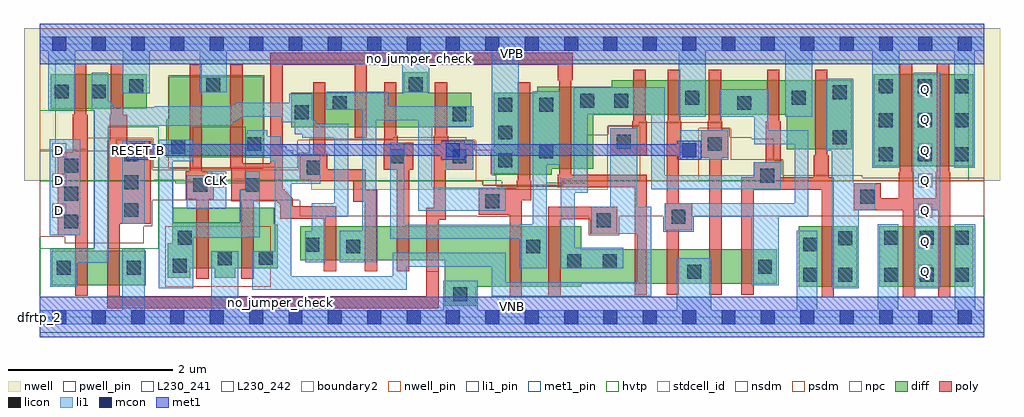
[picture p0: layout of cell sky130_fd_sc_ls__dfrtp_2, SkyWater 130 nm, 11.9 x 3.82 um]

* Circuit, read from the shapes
.subckt sky130_fd_sc_ls__dfrtp_2 CLK D Q RESET_B VGND VNB VPB VPWR
XM1 n1 D n2 VNB sky130_fd_pr__nfet_01v8 w=0.42 l=0.15
XM2 VGND RESET_B n1 VNB sky130_fd_pr__nfet_01v8 w=0.42 l=0.15
XM3 VGND CLK n3 VNB sky130_fd_pr__nfet_01v8 w=0.74 l=0.15
XM4 n4 n3 VGND VNB sky130_fd_pr__nfet_01v8 w=0.74 l=0.15
XM5 n5 n3 n2 VNB sky130_fd_pr__nfet_01v8 w=0.42 l=0.15
XM6 n6 n4 n5 VNB sky130_fd_pr__nfet_01v8 w=0.42 l=0.15
XM7 n7 n8 n6 VNB sky130_fd_pr__nfet_01v8 w=0.42 l=0.15
XM8 VGND RESET_B n7 VNB sky130_fd_pr__nfet_01v8 w=0.42 l=0.15
XM9 n8 n5 VGND VNB sky130_fd_pr__nfet_01v8 w=0.74 l=0.15
XM10 n9 n4 n8 VNB sky130_fd_pr__nfet_01v8 w=0.74 l=0.15
XM11 n10 n3 n9 VNB sky130_fd_pr__nfet_01v8 w=0.42 l=0.15
XM12 VGND n11 n10 VNB sky130_fd_pr__nfet_01v8 w=0.42 l=0.15
XM13 n12 RESET_B VGND VNB sky130_fd_pr__nfet_01v8 w=0.42 l=0.15
XM14 n11 n9 n12 VNB sky130_fd_pr__nfet_01v8 w=0.42 l=0.15
XM15 n13 n9 VGND VNB sky130_fd_pr__nfet_01v8 w=0.74 l=0.15
XM16 Q n13 VGND VNB sky130_fd_pr__nfet_01v8 w=0.74 l=0.15 m=2
XM17 n2 D VPWR VPB sky130_fd_pr__pfet_01v8_hvt w=0.42 l=0.15
XM18 VPWR RESET_B n2 VPB sky130_fd_pr__pfet_01v8_hvt w=0.42 l=0.15
XM19 VPWR CLK n3 VPB sky130_fd_pr__pfet_01v8_hvt w=1 l=0.15
XM20 n4 n3 VPWR VPB sky130_fd_pr__pfet_01v8_hvt w=1 l=0.15
XM21 n5 n4 n2 VPB sky130_fd_pr__pfet_01v8_hvt w=0.42 l=0.15
XM22 n14 n3 n5 VPB sky130_fd_pr__pfet_01v8_hvt w=0.42 l=0.15
XM23 VPWR n8 n14 VPB sky130_fd_pr__pfet_01v8_hvt w=0.42 l=0.15
XM24 n5 RESET_B VPWR VPB sky130_fd_pr__pfet_01v8_hvt w=0.42 l=0.15
XM25 n8 n5 VPWR VPB sky130_fd_pr__pfet_01v8_hvt w=1 l=0.15
XM26 n9 n3 n8 VPB sky130_fd_pr__pfet_01v8_hvt w=1 l=0.15
XM27 n15 n4 n9 VPB sky130_fd_pr__pfet_01v8_hvt w=0.42 l=0.15
XM28 VPWR n11 n15 VPB sky130_fd_pr__pfet_01v8_hvt w=0.42 l=0.15
XM29 n11 RESET_B VPWR VPB sky130_fd_pr__pfet_01v8_hvt w=0.42 l=0.15
XM30 VPWR n9 n11 VPB sky130_fd_pr__pfet_01v8_hvt w=0.42 l=0.15
XM31 n13 n9 VPWR VPB sky130_fd_pr__pfet_01v8_hvt w=0.84 l=0.15
XM32 Q n13 VPWR VPB sky130_fd_pr__pfet_01v8_hvt w=1.12 l=0.15 m=2
.ends

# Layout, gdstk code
import gdstk
lib = gdstk.Library(unit=1e-6, precision=1e-09)
def R(c, l, rs):  # rectangles x0, y0, x1, y1
    for r in rs: c.add(gdstk.rectangle(r[:2], r[2:], *l))
def A(c, l, x, y, w, h, nx, ny, dx, dy):  # array of equal rectangles
    R(c, l, [(x+i*dx, y+j*dy, x+i*dx+w, y+j*dy+h) for i in range(nx) for j in range(ny)])
def P(c, l, *ps):  # polygons
    for p in ps: c.add(gdstk.Polygon(p, *l))
nwell_pin = (64, 16)
nwell = (64, 20)
diff = (65, 20)
poly = (66, 20)
licon = (66, 44)
li1_pin = (67, 16)
li1 = (67, 20)
mcon = (67, 44)
met1_pin = (68, 16)
met1 = (68, 20)
hvtp = (78, 44)
stdcell_id = (81, 4)
nsdm = (93, 44)
psdm = (94, 20)
npc = (95, 20)
pwell_pin = (122, 16)
L230_241 = (230, 241)
L230_242 = (230, 242)
boundary2 = (236, 0)

sky130_fd_sc_ls__dfrtp_2 = lib.new_cell('sky130_fd_sc_ls__dfrtp_2')
R(sky130_fd_sc_ls__dfrtp_2, nwell_pin, [(0,3.085,11.52,3.33)])
P(sky130_fd_sc_ls__dfrtp_2, nwell, [(11.71,3.52),(-0.19,3.52),(-0.19,1.66),(1.39,1.66),(1.39,1.675),(3.31,1.675),(3.31,1.555),(6.93,1.555),(6.93,1.66),(11.71,1.66)])
R(sky130_fd_sc_ls__dfrtp_2, diff, [(9.255,0.37,9.97,1.11), (10.24,0.37,11.385,1.11), (0.15,0.39,1.295,0.81), (10.17,1.84,11.385,2.96), (0.135,2.54,1.305,2.96)])
P(sky130_fd_sc_ls__dfrtp_2, diff, [(2.74,2.95),(1.575,2.95),(1.575,2.41),(1.545,2.41),(1.545,1.95),(2.74,1.95)],
  [(2.905,1.125),(2.86,1.125),(2.86,1.335),(1.615,1.335),(1.615,0.9),(1.565,0.9),(1.565,0.48),(1.835,0.48),(1.835,0.595),(2.135,0.595),(2.135,0.48),(2.385,0.48),(2.385,0.595),(2.905,0.595)],
  [(5.265,2.735),(4.73,2.735),(4.73,2.985),(4.44,2.985),(4.44,2.735),(3.07,2.735),(3.07,2.315),(5.265,2.315)],
  [(8.985,0.825),(6.605,0.825),(6.605,1.11),(3.18,1.11),(3.18,0.69),(4.94,0.69),(4.94,0.135),(5.325,0.135),(5.325,0.37),(6.605,0.37),(6.605,0.405),(8.985,0.405)],
  [(9.9,2.885),(6.975,2.885),(6.975,2.81),(6.07,2.81),(6.07,2.735),(5.535,2.735),(5.535,1.735),(6.245,1.735),(6.245,1.81),(6.75,1.81),(6.75,2.465),(9.11,2.465),(9.11,2.045),(9.9,2.045)])
P(sky130_fd_sc_ls__dfrtp_2, poly, [(0.585,2.465),(0.57,2.465),(0.57,3.09),(0.42,3.09),(0.42,2.465),(0.405,2.465),(0.405,2.01),(0.22,2.01),(0.22,1),(0.435,1),(0.435,0.26),(0.585,0.26)],
  [(2.125,1.755),(2.105,1.755),(2.105,1.775),(1.98,1.775),(1.98,3.08),(1.83,3.08),(1.83,1.775),(1.78,1.775),(1.78,1.435),(1.91,1.435),(1.91,0.465),(2.06,0.465),(2.06,1.435),(2.125,1.435)],
  [(9.685,1.705),(9.62,1.705),(9.62,1.97),(9.605,1.97),(9.605,3.015),(9.455,3.015),(9.455,1.97),(9.44,1.97),(9.44,1.705),(9.035,1.705),(9.035,2.39),(9.02,2.39),(9.02,3.015),(8.87,3.015),(8.87,2.39),(8.855,2.39),(8.855,1.89),(8.705,1.89),(8.705,1.705),(8.555,1.705),(8.555,0.275),(8.705,0.275),(8.705,1.555),(9.535,1.555),(9.535,0.24),(9.685,0.24)],
  [(4.115,1.555),(3.975,1.555),(3.975,1.805),(3.505,1.805),(3.505,1.99),(3.485,1.99),(3.485,2.865),(3.335,2.865),(3.335,1.985),(3.175,1.985),(3.175,1.685),(3.185,1.685),(3.185,1.675),(3.195,1.675),(3.195,1.665),(3.205,1.665),(3.205,1.655),(3.825,1.655),(3.825,1.405),(3.965,1.405),(3.965,0.56),(4.115,0.56)],
  [(8.395,2.275),(8.325,2.275),(8.325,2.39),(8.31,2.39),(8.31,3.015),(8.16,3.015),(8.16,2.39),(8.145,2.39),(8.145,2.275),(8.065,2.275),(8.065,1.945),(8.165,1.945),(8.165,0.275),(8.315,0.275),(8.315,1.945),(8.395,1.945)],
  [(4.555,2.125),(4.365,2.125),(4.365,2.21),(4.35,2.21),(4.35,2.865),(4.2,2.865),(4.2,2.125),(4.195,2.125),(4.195,1.795),(4.355,1.795),(4.355,0.56),(4.505,0.56),(4.505,1.795),(4.555,1.795)],
  [(5.285,2.125),(4.985,2.125),(4.985,2.21),(4.97,2.21),(4.97,2.865),(4.82,2.865),(4.82,2.21),(4.805,2.21),(4.805,1.335),(4.715,1.335),(4.715,0.255),(0.975,0.255),(0.975,1.14),(1.355,1.14),(1.355,2.15),(1.07,2.15),(1.07,2.465),(1.02,2.465),(1.02,3.09),(0.87,3.09),(0.87,2.465),(0.855,2.465),(0.855,2.15),(0.825,2.15),(0.825,0.105),(4.865,0.105),(4.865,1.185),(4.955,1.185),(4.955,1.795),(5.285,1.795)],
  [(5.995,1.66),(5.98,1.66),(5.98,2.865),(5.83,2.865),(5.83,1.66),(5.815,1.66),(5.815,1.575),(5.355,1.575),(5.355,1.245),(5.73,1.245),(5.73,0.24),(5.88,0.24),(5.88,1.425),(5.995,1.425)],
  [(7.045,1.345),(6.205,1.345),(6.205,0.24),(6.355,0.24),(6.355,1.195),(6.715,1.195),(6.715,1.015),(7.045,1.015)],
  [(7.405,2.39),(7.39,2.39),(7.39,3.015),(7.24,3.015),(7.24,2.39),(7.225,2.39),(7.225,2.305),(6.955,2.305),(6.955,1.975),(7.405,1.975)],
  [(11.105,1.765),(11.09,1.765),(11.09,3.09),(10.94,3.09),(10.94,1.765),(10.925,1.765),(10.925,1.45),(10.655,1.45),(10.655,1.765),(10.64,1.765),(10.64,3.09),(10.49,3.09),(10.49,1.765),(10.475,1.765),(10.475,1.45),(10.255,1.45),(10.255,1.63),(9.925,1.63),(9.925,1.3),(10.525,1.3),(10.525,0.24),(10.675,0.24),(10.675,1.3),(10.955,1.3),(10.955,0.24),(11.105,0.24)],
  [(7.405,1.735),(6.485,1.735),(6.485,2.885),(6.5,2.885),(6.5,3.225),(2.815,3.225),(2.815,1.875),(2.475,1.875),(2.475,3.08),(2.325,3.08),(2.325,1.82),(2.335,1.82),(2.335,1.41),(2.46,1.41),(2.46,0.465),(2.61,0.465),(2.61,1.41),(2.9,1.41),(2.9,1.4),(2.905,1.4),(2.905,1.395),(2.915,1.395),(2.915,1.39),(2.92,1.39),(2.92,1.38),(2.925,1.38),(2.925,1.375),(2.935,1.375),(2.935,1.2),(3.465,1.2),(3.465,0.56),(3.615,0.56),(3.615,1.35),(3.085,1.35),(3.085,1.45),(3.075,1.45),(3.075,1.465),(3.06,1.465),(3.06,1.48),(3.045,1.48),(3.045,1.49),(3.035,1.49),(3.035,1.505),(3.02,1.505),(3.02,1.52),(3.005,1.52),(3.005,1.535),(2.99,1.535),(2.99,1.56),(2.965,1.56),(2.965,3.075),(3.84,3.075),(3.84,2.185),(3.99,2.185),(3.99,3.075),(6.32,3.075),(6.32,2.885),(6.335,2.885),(6.335,1.735),(6.32,1.735),(6.32,1.585),(7.255,1.585),(7.255,0.275),(7.405,0.275)],
  [(7.955,1.39),(7.795,1.39),(7.795,1.975),(7.825,1.975),(7.825,2.39),(7.81,2.39),(7.81,3.015),(7.66,3.015),(7.66,2.39),(7.645,2.39),(7.645,1.39),(7.625,1.39),(7.625,1.06),(7.645,1.06),(7.645,0.275),(7.795,0.275),(7.795,1.06),(7.955,1.06)])
A(sky130_fd_sc_ls__dfrtp_2, licon, 10.3, 0.43, 0.17, 0.17, 3, 2, 0.43, 0.45)
A(sky130_fd_sc_ls__dfrtp_2, licon, 0.3, 1.08, 0.17, 0.17, 1, 3, 0, 0.34)
A(sky130_fd_sc_ls__dfrtp_2, licon, 1.035, 1.22, 0.17, 0.17, 1, 3, 0, 0.34)
A(sky130_fd_sc_ls__dfrtp_2, licon, 5.595, 1.825, 0.17, 0.17, 1, 3, 0, 0.34)
A(sky130_fd_sc_ls__dfrtp_2, licon, 10.23, 1.9, 0.17, 0.17, 1, 3, 0, 0.415)
A(sky130_fd_sc_ls__dfrtp_2, licon, 10.705, 1.9, 0.17, 0.17, 1, 3, 0, 0.415)
A(sky130_fd_sc_ls__dfrtp_2, licon, 11.155, 1.9, 0.17, 0.17, 1, 3, 0, 0.415)
R(sky130_fd_sc_ls__dfrtp_2, licon, [(5.045,0.195,5.215,0.365), (9.31,0.43,9.48,0.6), (9.74,0.43,9.91,0.6), (7.895,0.465,8.065,0.635), (0.21,0.515,0.38,0.685), (1.065,0.515,1.235,0.685), (8.76,0.53,8.93,0.7), (1.625,0.54,1.795,0.71), (6.435,0.595,6.605,0.765), (6.865,0.595,7.035,0.765), (2.175,0.63,2.345,0.8), (2.675,0.635,2.845,0.805), (3.74,0.775,3.91,0.945), (5.935,0.775,6.105,0.945), (3.24,0.795,3.41,0.965), (9.31,0.8,9.48,0.97), (9.74,0.875,9.91,1.045), (1.685,0.88,1.855,1.05), (6.795,1.095,6.965,1.265), (7.705,1.14,7.875,1.31), (5.435,1.325,5.605,1.495), (10.005,1.38,10.175,1.55), (1.875,1.525,2.045,1.695), (2.515,1.525,2.685,1.695), (8.785,1.64,8.955,1.81), (3.255,1.735,3.425,1.905), (4.275,1.875,4.445,2.045), (5.035,1.875,5.205,2.045), (6.095,1.935,6.265,2.105), (1.605,1.99,1.775,2.16), (2.53,2.025,2.7,2.195), (8.145,2.025,8.315,2.195), (7.035,2.055,7.205,2.225), (9.67,2.11,9.84,2.28), (5.035,2.39,5.205,2.56), (3.11,2.41,3.28,2.58), (6.095,2.505,6.265,2.675), (3.575,2.525,3.745,2.695), (8.505,2.525,8.675,2.695), (6.595,2.555,6.765,2.725), (7.005,2.555,7.175,2.725), (7.875,2.59,8.045,2.76), (9.17,2.59,9.34,2.76), (9.67,2.655,9.84,2.825), (0.185,2.665,0.355,2.835), (0.635,2.665,0.805,2.835), (1.095,2.73,1.265,2.9), (2.035,2.74,2.205,2.91), (4.5,2.755,4.67,2.925)])
A(sky130_fd_sc_ls__dfrtp_2, li1_pin, 10.715, 0.47, 0.17, 0.17, 1, 7, 0, 0.37)
A(sky130_fd_sc_ls__dfrtp_2, li1_pin, 0.155, 1.21, 0.17, 0.17, 1, 3, 0, 0.37)
R(sky130_fd_sc_ls__dfrtp_2, li1_pin, [(2.075,1.58,2.245,1.75)])
R(sky130_fd_sc_ls__dfrtp_2, li1, [(10.65,0.35,10.98,2.98), (0.125,1,0.495,2.17), (1.005,1.14,1.285,2.15), (4.955,1.795,5.285,2.15), (7.805,1.92,8.395,2.275)])
P(sky130_fd_sc_ls__dfrtp_2, li1, [(2.275,1.78),(2.045,1.78),(2.045,1.73),(1.795,1.73),(1.795,1.32),(2.275,1.32)],
  [(2.685,1.775),(2.515,1.775),(2.515,1.55),(2.445,1.55),(2.445,1.15),(1.625,1.15),(1.625,1.9),(1.865,1.9),(1.865,2.16),(1.455,2.16),(1.455,0.35),(1.875,0.35),(1.875,0.97),(2.54,0.97),(2.54,0.975),(2.685,0.975)],
  [(11.52,0.085),(11.41,0.085),(11.41,1.13),(11.16,1.13),(11.16,0.085),(10.47,0.085),(10.47,1.13),(10.22,1.13),(10.22,0.085),(9.48,0.085),(9.48,1.05),(9.23,1.05),(9.23,0.085),(8.19,0.085),(8.19,0.715),(7.77,0.715),(7.77,0.085),(5.345,0.085),(5.345,0.445),(4.92,0.445),(4.92,0.085),(2.425,0.085),(2.425,0.8),(2.095,0.8),(2.095,0.085),(1.285,0.085),(1.285,0.83),(1.005,0.83),(1.005,0.085),(0,0.085),(0,-0.085),(11.52,-0.085)],
  [(9.375,2.275),(8.885,2.275),(8.885,2.775),(8.295,2.775),(8.295,2.445),(8.715,2.445),(8.715,2.105),(9.205,2.105),(9.205,1.39),(7.625,1.39),(7.625,1.06),(7.955,1.06),(7.955,1.22),(8.68,1.22),(8.68,0.385),(9.01,0.385),(9.01,1.22),(9.375,1.22)],
  [(9.035,1.89),(8.705,1.89),(8.705,1.73),(7.625,1.73),(7.625,2.805),(6.515,2.805),(6.515,1.685),(6.355,1.685),(6.355,0.595),(7.115,0.595),(7.115,0.845),(6.525,0.845),(6.525,1.515),(6.685,1.515),(6.685,2.475),(7.455,2.475),(7.455,1.56),(9.035,1.56)],
  [(3.765,2.355),(3.37,2.355),(3.37,2.4),(3.325,2.4),(3.325,2.725),(3.045,2.725),(3.045,2.615),(2.405,2.615),(2.405,2.605),(2.39,2.605),(2.39,2.595),(2.375,2.595),(2.375,2.59),(2.365,2.59),(2.365,2.585),(2.355,2.585),(2.355,2.58),(2.345,2.58),(2.345,2.575),(2.33,2.575),(2.33,2.57),(1.405,2.57),(1.405,2.56),(0.89,2.56),(0.89,2.605),(0.87,2.605),(0.87,2.63),(0.835,2.63),(0.835,2.98),(0.635,2.98),(0.635,2.52),(0.665,2.52),(0.665,0.83),(0.13,0.83),(0.13,0.37),(0.46,0.37),(0.46,0.66),(0.835,0.66),(0.835,2.33),(2.34,2.33),(2.34,2.355),(2.36,2.355),(2.36,2.38),(2.385,2.38),(2.385,2.395),(2.405,2.395),(2.405,2.405),(2.42,2.405),(2.42,2.42),(2.44,2.42),(2.44,2.43),(2.46,2.43),(2.46,2.435),(2.47,2.435),(2.47,2.44),(2.485,2.44),(2.485,2.445),(2.945,2.445),(2.945,2.375),(3.11,2.375),(3.11,2.23),(3.2,2.23),(3.2,2.185),(3.595,2.185),(3.595,1.39),(3.32,1.39),(3.32,1.045),(3.24,1.045),(3.24,0.67),(3.49,0.67),(3.49,1.22),(3.765,1.22)],
  [(10.19,1.63),(9.92,1.63),(9.92,2.905),(9.59,2.905),(9.59,2.03),(9.66,2.03),(9.66,0.35),(9.99,0.35),(9.99,1.3),(10.19,1.3)],
  [(5.685,1.575),(4.785,1.575),(4.785,2.32),(5.285,2.32),(5.285,2.57),(4.25,2.57),(4.25,2.75),(3.495,2.75),(3.495,2.525),(3.935,2.525),(3.935,1.05),(3.66,1.05),(3.66,0.67),(4.105,0.67),(4.105,2.4),(4.615,2.4),(4.615,1.295),(5.685,1.295)],
  [(11.52,3.415),(0,3.415),(0,3.245),(0.105,3.245),(0.105,2.52),(0.435,2.52),(0.435,3.245),(1.015,3.245),(1.015,2.73),(1.345,2.73),(1.345,3.245),(1.955,3.245),(1.955,2.74),(2.285,2.74),(2.285,3.245),(4.42,3.245),(4.42,2.74),(4.75,2.74),(4.75,3.245),(5.515,3.245),(5.515,1.745),(5.845,1.745),(5.845,3.245),(7.795,3.245),(7.795,2.445),(8.125,2.445),(8.125,3.245),(9.09,3.245),(9.09,2.445),(9.42,2.445),(9.42,3.245),(10.15,3.245),(10.15,1.82),(10.48,1.82),(10.48,3.245),(11.155,3.245),(11.155,1.82),(11.405,1.82),(11.405,3.245),(11.52,3.245)],
  [(6.345,2.755),(6.015,2.755),(6.015,1.13),(5.855,1.13),(5.855,1.125),(4.445,1.125),(4.445,2.125),(4.275,2.125),(4.275,0.955),(5.855,0.955),(5.855,0.595),(6.185,0.595),(6.185,1.855),(6.345,1.855)],
  [(7.455,1.345),(7.285,1.345),(7.285,2.305),(6.955,2.305),(6.955,1.345),(6.725,1.345),(6.725,1.015),(7.285,1.015),(7.285,0.425),(5.685,0.425),(5.685,0.785),(4.305,0.785),(4.305,0.5),(3.07,0.5),(3.07,1.625),(3.425,1.625),(3.425,1.985),(3.095,1.985),(3.095,2.035),(3.01,2.035),(3.01,2.08),(2.94,2.08),(2.94,2.205),(2.775,2.205),(2.775,2.275),(2.53,2.275),(2.53,2.23),(2.515,2.23),(2.515,1.945),(2.81,1.945),(2.81,1.9),(2.865,1.9),(2.865,0.805),(2.595,0.805),(2.595,0.33),(4.475,0.33),(4.475,0.615),(5.515,0.615),(5.515,0.255),(7.455,0.255)])
A(sky130_fd_sc_ls__dfrtp_2, mcon, 0.155, -0.085, 0.17, 0.17, 24, 2, 0.48, 3.33)
R(sky130_fd_sc_ls__dfrtp_2, mcon, [(1.115,1.95,1.285,2.12), (4.955,1.95,5.125,2.12), (7.835,1.95,8.005,2.12)])
R(sky130_fd_sc_ls__dfrtp_2, met1_pin, [(0,0,11.52,0.245), (1.115,1.95,1.285,2.12), (0,3.085,11.52,3.33)])
R(sky130_fd_sc_ls__dfrtp_2, met1, [(0,-0.245,11.52,0.245), (0,3.085,11.52,3.575)])
P(sky130_fd_sc_ls__dfrtp_2, met1, [(8.065,2.15),(7.775,2.15),(7.775,2.105),(5.185,2.105),(5.185,2.15),(4.895,2.15),(4.895,2.105),(1.345,2.105),(1.345,2.15),(1.055,2.15),(1.055,1.92),(1.345,1.92),(1.345,1.965),(4.895,1.965),(4.895,1.92),(5.185,1.92),(5.185,1.965),(7.775,1.965),(7.775,1.92),(8.065,1.92)])
P(sky130_fd_sc_ls__dfrtp_2, hvtp, [(11.33,3.14),(0.19,3.14),(0.19,1.66),(1.655,1.66),(1.655,1.63),(2.645,1.63),(2.645,1.66),(5.635,1.66),(5.635,1.555),(6.175,1.555),(6.175,1.63),(6.68,1.63),(6.68,1.66),(11.33,1.66)])
R(sky130_fd_sc_ls__dfrtp_2, stdcell_id, [(0,0,11.52,3.33)])
P(sky130_fd_sc_ls__dfrtp_2, nsdm, [(11.52,1.66),(6.375,1.66),(6.375,1.605),(5.405,1.605),(5.405,1.66),(0,1.66),(0,-0.19),(11.52,-0.19)])
P(sky130_fd_sc_ls__dfrtp_2, psdm, [(11.52,3.52),(0,3.52),(0,2.04),(0.58,2.04),(0.58,2.18),(1.385,2.18),(1.385,1.82),(3.145,1.82),(3.145,2.155),(5.315,2.155),(5.315,1.66),(5.405,1.66),(5.405,1.605),(6.375,1.605),(6.375,1.66),(6.925,1.66),(6.925,2.335),(7.315,2.335),(7.315,1.66),(8.035,1.66),(8.035,2.305),(8.425,2.305),(8.425,1.92),(9.065,1.92),(9.065,1.66),(11.52,1.66)])
P(sky130_fd_sc_ls__dfrtp_2, npc, [(11.52,1.7),(10.03,1.7),(10.03,1.73),(9.055,1.73),(9.055,1.91),(8.95,1.91),(8.95,2.175),(8.68,2.175),(8.68,2.19),(8.415,2.19),(8.415,2.295),(8.31,2.295),(8.31,2.375),(7.305,2.375),(7.305,2.325),(6.935,2.325),(6.935,2.22),(6.67,2.22),(6.67,1.67),(6.385,1.67),(6.385,1.595),(5.57,1.595),(5.57,1.735),(5.505,1.735),(5.505,2.04),(5.305,2.04),(5.305,2.145),(5.2,2.145),(5.2,2.195),(4.31,2.195),(4.31,2.175),(3.285,2.175),(3.285,2.005),(3.155,2.005),(3.155,1.795),(1.375,1.795),(1.375,2.17),(0.935,2.17),(0.935,2.03),(0,2.03),(0,0.98),(0.305,0.98),(0.305,0.9),(1.27,0.9),(1.27,1.11),(1.375,1.11),(1.375,1.425),(3.17,1.425),(3.17,1.23),(5.335,1.23),(5.335,1.225),(5.705,1.225),(5.705,1.23),(6.695,1.23),(6.695,0.995),(7.065,0.995),(7.065,1.23),(7.605,1.23),(7.605,1.04),(7.975,1.04),(7.975,1.23),(11.52,1.23)])
R(sky130_fd_sc_ls__dfrtp_2, pwell_pin, [(0,0,11.52,0.245)])
R(sky130_fd_sc_ls__dfrtp_2, L230_241, [(1.53,0.37,2.82,1.11), (0.125,1,0.495,2.17), (1.005,1.14,1.285,2.15), (1.57,1.81,2.73,2.93)])
P(sky130_fd_sc_ls__dfrtp_2, L230_241, [(2.275,1.78),(2.045,1.78),(2.045,1.65),(1.795,1.65),(1.795,1.32),(2.275,1.32)])
R(sky130_fd_sc_ls__dfrtp_2, L230_242, [(0,0.83,0.665,2.52), (0.835,0.83,1.455,2.32)])
P(sky130_fd_sc_ls__dfrtp_2, L230_242, [(4.865,0.56),(4.715,0.56),(4.715,0.255),(0.975,0.255),(0.975,0.26),(0.825,0.26),(0.825,0.105),(4.865,0.105)],
  [(2.515,2.32),(1.865,2.32),(1.865,1.82),(1.625,1.82),(1.625,1.15),(2.445,1.15),(2.445,1.55),(2.515,1.55)])
R(sky130_fd_sc_ls__dfrtp_2, boundary2, [(0,0,11.52,3.33)])
sky130_fd_sc_ls__dfrtp_2.add(gdstk.Label('no_jumper_check', (4.63,3.15), layer=83, texttype=44))
sky130_fd_sc_ls__dfrtp_2.add(gdstk.Label('no_jumper_check', (2.935,0.18), layer=83, texttype=44))
sky130_fd_sc_ls__dfrtp_2.add(gdstk.Label('dfrtp_2', (0,0), layer=83, texttype=44))
sky130_fd_sc_ls__dfrtp_2.add(gdstk.Label('VNB', (5.76,0.123), layer=64, texttype=59))
sky130_fd_sc_ls__dfrtp_2.add(gdstk.Label('VPB', (5.76,3.208), layer=64, texttype=5))
sky130_fd_sc_ls__dfrtp_2.add(gdstk.Label('RESET_B', (1.2,2.035), layer=68, texttype=5))
sky130_fd_sc_ls__dfrtp_2.add(gdstk.Label('VPWR', (5.76,3.208), layer=68, texttype=5))
sky130_fd_sc_ls__dfrtp_2.add(gdstk.Label('VGND', (5.76,0.123), layer=68, texttype=5))
sky130_fd_sc_ls__dfrtp_2.add(gdstk.Label('D', (0.24,1.295), layer=67, texttype=5))
sky130_fd_sc_ls__dfrtp_2.add(gdstk.Label('D', (0.24,1.665), layer=67, texttype=5))
sky130_fd_sc_ls__dfrtp_2.add(gdstk.Label('D', (0.24,2.035), layer=67, texttype=5))
sky130_fd_sc_ls__dfrtp_2.add(gdstk.Label('CLK', (2.16,1.665), layer=67, texttype=5))
sky130_fd_sc_ls__dfrtp_2.add(gdstk.Label('Q', (10.8,0.555), layer=67, texttype=5))
sky130_fd_sc_ls__dfrtp_2.add(gdstk.Label('Q', (10.8,0.925), layer=67, texttype=5))
sky130_fd_sc_ls__dfrtp_2.add(gdstk.Label('Q', (10.8,1.295), layer=67, texttype=5))
sky130_fd_sc_ls__dfrtp_2.add(gdstk.Label('Q', (10.8,1.665), layer=67, texttype=5))
sky130_fd_sc_ls__dfrtp_2.add(gdstk.Label('Q', (10.8,2.035), layer=67, texttype=5))
sky130_fd_sc_ls__dfrtp_2.add(gdstk.Label('Q', (10.8,2.405), layer=67, texttype=5))
sky130_fd_sc_ls__dfrtp_2.add(gdstk.Label('Q', (10.8,2.775), layer=67, texttype=5))

lib.write_gds('sky130_fd_sc_ls__dfrtp_2.gds')
